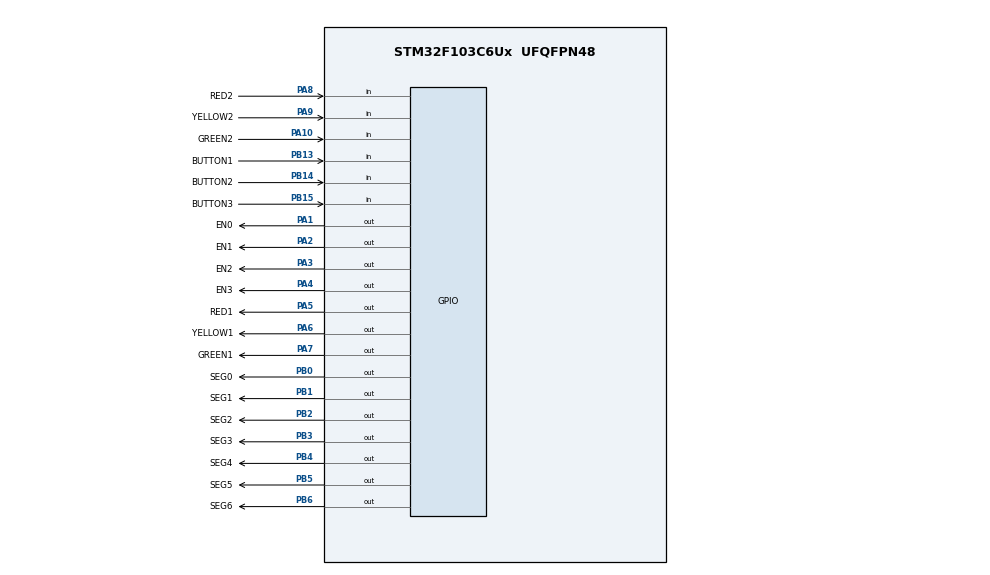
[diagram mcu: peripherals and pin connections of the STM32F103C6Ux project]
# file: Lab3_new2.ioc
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Mcu.Family=STM32F1
Mcu.Name=STM32F103C6Ux
Mcu.Package=UFQFPN48
NVIC.PriorityGroup=NVIC_PRIORITYGROUP_4
NVIC.TIM2_IRQn=true\:0\:0\:false\:false\:true\:true\:true\:true
PA1.GPIO_Label=EN0
PA1.Signal=GPIO_Output
PA10.GPIO_Label=GREEN2
PA10.GPIO_PuPd=GPIO_PULLUP
PA10.Signal=GPIO_Input
PA2.GPIO_Label=EN1
PA2.Signal=GPIO_Output
PA3.GPIO_Label=EN2
PA3.Signal=GPIO_Output
PA4.GPIO_Label=EN3
PA4.Signal=GPIO_Output
PA5.GPIO_Label=RED1
PA5.Signal=GPIO_Output
PA6.GPIO_Label=YELLOW1
PA6.Signal=GPIO_Output
PA7.GPIO_Label=GREEN1
PA7.Signal=GPIO_Output
PA8.GPIO_Label=RED2
PA8.GPIO_PuPd=GPIO_PULLUP
PA8.Signal=GPIO_Input
PA9.GPIO_Label=YELLOW2
PA9.GPIO_PuPd=GPIO_PULLUP
PA9.Signal=GPIO_Input
PB0.GPIO_Label=SEG0
PB0.Signal=GPIO_Output
PB1.GPIO_Label=SEG1
PB1.Signal=GPIO_Output
PB13.GPIO_Label=BUTTON1
PB13.GPIO_PuPd=GPIO_PULLUP
PB13.Signal=GPIO_Input
PB14.GPIO_Label=BUTTON2
PB14.GPIO_PuPd=GPIO_PULLUP
PB14.Signal=GPIO_Input
PB15.GPIO_Label=BUTTON3
PB15.GPIO_PuPd=GPIO_PULLUP
PB15.Signal=GPIO_Input
PB2.GPIO_Label=SEG2
PB2.Signal=GPIO_Output
PB3.GPIO_Label=SEG3
PB3.Signal=GPIO_Output
PB4.GPIO_Label=SEG4
PB4.Signal=GPIO_Output
PB5.GPIO_Label=SEG5
PB5.Signal=GPIO_Output
PB6.GPIO_Label=SEG6
PB6.Signal=GPIO_Output
ProjectManager.HeapSize=0x200
ProjectManager.StackSize=0x400
ProjectManager.TargetToolchain=STM32CubeIDE
RCC.APB1Freq_Value=8000000
RCC.APB2Freq_Value=8000000
TIM2.Period=9
TIM2.Prescaler=7999
VP_SYS_VS_ND.Mode=No_Debug
VP_TIM2_VS_ClockSourceINT.Mode=Internal
board=custom

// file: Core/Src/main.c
/* USER CODE BEGIN Header */
/**
 ******************************************************************************
 * @file           : main.c
 * @brief          : Main program body
 ******************************************************************************
 * @attention
 *
 * Copyright (c) 2024 STMicroelectronics.
 * All rights reserved.
 *
 * This software is licensed under terms that can be found in the LICENSE file
 * in the root directory of this software component.
 * If no LICENSE file comes with this software, it is provided AS-IS.
 *
 ******************************************************************************
 */
/* USER CODE END Header */
#include "main.h"
#include <stdio.h>
#include "SCH_global.h"

/* USER CODE BEGIN Includes */
#include "Button.h"
#include "fsm_automatic.h"
#include "fsm_manual.h"
#include "seven_segment.h"
#include "led.h"
#include "blinky_4led.h"
/* USER CODE END Includes */

TIM_HandleTypeDef htim2;

void SystemClock_Config(void);
static void MX_GPIO_Init(void);
static void MX_TIM2_Init(void);

int main(void) {

	/* MCU Configuration--------------------------------------------------------*/

	/* Reset of all peripherals, Initializes the Flash interface and the Systick. */
	HAL_Init();

	/* Configure the system clock */
	SystemClock_Config();

	/* Initialize all configured peripherals */
	MX_GPIO_Init();
	MX_TIM2_Init();
	/* USER CODE BEGIN 2 */
	HAL_TIM_Base_Start_IT(&htim2);
	/* USER CODE END 2 */

	/* Infinite loop */
	/* USER CODE BEGIN WHILE */
	status = INIT;
	setTimer2(15);
	setTimer3(100);
	SCH_Add_Task(fsm_automatic_run, 0, 10);
	SCH_Add_Task(fsm_manual_run, 5, 5);
	SCH_Add_Task(displayClock, 5, 5);
	while (1) {
//		HAL_GPIO_WritePin(RED1_GPIO_Port, RED1_Pin, HAL_GPIO_ReadPin(BUTTON3_GPIO_Port, BUTTON3_Pin));
		/* USER CODE END WHILE */

		/* USER CODE BEGIN 3 */
		fsm_automatic_run();
		fsm_manual_run();

		realTimeClock();
	}
	/* USER CODE END 3 */
}

void SystemClock_Config(void) {
	RCC_OscInitTypeDef RCC_OscInitStruct = { 0 };
	RCC_ClkInitTypeDef RCC_ClkInitStruct = { 0 };

	/** Initializes the RCC Oscillators according to the specified parameters
	 * in the RCC_OscInitTypeDef structure.
	 */
	RCC_OscInitStruct.OscillatorType = RCC_OSCILLATORTYPE_HSI;
	RCC_OscInitStruct.HSIState = RCC_HSI_ON;
	RCC_OscInitStruct.HSICalibrationValue = RCC_HSICALIBRATION_DEFAULT;
	RCC_OscInitStruct.PLL.PLLState = RCC_PLL_NONE;
	if (HAL_RCC_OscConfig(&RCC_OscInitStruct) != HAL_OK) {
		Error_Handler();
	}

	/** Initializes the CPU, AHB and APB buses clocks
	 */
	RCC_ClkInitStruct.ClockType = RCC_CLOCKTYPE_HCLK | RCC_CLOCKTYPE_SYSCLK
			| RCC_CLOCKTYPE_PCLK1 | RCC_CLOCKTYPE_PCLK2;
	RCC_ClkInitStruct.SYSCLKSource = RCC_SYSCLKSOURCE_HSI;
	RCC_ClkInitStruct.AHBCLKDivider = RCC_SYSCLK_DIV1;
	RCC_ClkInitStruct.APB1CLKDivider = RCC_HCLK_DIV1;
	RCC_ClkInitStruct.APB2CLKDivider = RCC_HCLK_DIV1;

	if (HAL_RCC_ClockConfig(&RCC_ClkInitStruct, FLASH_LATENCY_0) != HAL_OK) {
		Error_Handler();
	}
}

static void MX_TIM2_Init(void) {

	TIM_ClockConfigTypeDef sClockSourceConfig = { 0 };
	TIM_MasterConfigTypeDef sMasterConfig = { 0 };

	htim2.Instance = TIM2;
	htim2.Init.Prescaler = 7999;
	htim2.Init.CounterMode = TIM_COUNTERMODE_UP;
	htim2.Init.Period = 9;
	htim2.Init.ClockDivision = TIM_CLOCKDIVISION_DIV1;
	htim2.Init.AutoReloadPreload = TIM_AUTORELOAD_PRELOAD_DISABLE;
	if (HAL_TIM_Base_Init(&htim2) != HAL_OK) {
		Error_Handler();
	}
	sClockSourceConfig.ClockSource = TIM_CLOCKSOURCE_INTERNAL;
	if (HAL_TIM_ConfigClockSource(&htim2, &sClockSourceConfig) != HAL_OK) {
		Error_Handler();
	}
	sMasterConfig.MasterOutputTrigger = TIM_TRGO_RESET;
	sMasterConfig.MasterSlaveMode = TIM_MASTERSLAVEMODE_DISABLE;
	if (HAL_TIMEx_MasterConfigSynchronization(&htim2, &sMasterConfig)
			!= HAL_OK) {
		Error_Handler();
	}

}

static void MX_GPIO_Init(void) {
	GPIO_InitTypeDef GPIO_InitStruct = { 0 };

	/* GPIO Ports Clock Enable */
	__HAL_RCC_GPIOA_CLK_ENABLE();
	__HAL_RCC_GPIOB_CLK_ENABLE();

	/*Configure GPIO pin Output Level */
	HAL_GPIO_WritePin(GPIOA,
	EN0_Pin | EN1_Pin | EN2_Pin | EN3_Pin | RED1_Pin | YELLOW1_Pin | GREEN1_Pin,
			GPIO_PIN_RESET);

	/*Configure GPIO pin Output Level */
	HAL_GPIO_WritePin(GPIOB,
	SEG0_Pin | SEG1_Pin | SEG2_Pin | SEG3_Pin | SEG4_Pin | SEG5_Pin | SEG6_Pin,
			GPIO_PIN_RESET);

	/*Configure GPIO pins : EN0_Pin EN1_Pin EN2_Pin EN3_Pin
	 RED1_Pin YELLOW1_Pin GREEN1_Pin */
	GPIO_InitStruct.Pin = EN0_Pin | EN1_Pin | EN2_Pin | EN3_Pin | RED1_Pin
			| YELLOW1_Pin | GREEN1_Pin;
	GPIO_InitStruct.Mode = GPIO_MODE_OUTPUT_PP;
	GPIO_InitStruct.Pull = GPIO_NOPULL;
	GPIO_InitStruct.Speed = GPIO_SPEED_FREQ_LOW;
	HAL_GPIO_Init(GPIOA, &GPIO_InitStruct);

	/*Configure GPIO pins : SEG0_Pin SEG1_Pin SEG2_Pin SEG3_Pin
	 SEG4_Pin SEG5_Pin SEG6_Pin */
	GPIO_InitStruct.Pin = SEG0_Pin | SEG1_Pin | SEG2_Pin | SEG3_Pin | SEG4_Pin
			| SEG5_Pin | SEG6_Pin;
	GPIO_InitStruct.Mode = GPIO_MODE_OUTPUT_PP;
	GPIO_InitStruct.Pull = GPIO_NOPULL;
	GPIO_InitStruct.Speed = GPIO_SPEED_FREQ_LOW;
	HAL_GPIO_Init(GPIOB, &GPIO_InitStruct);

	/*Configure GPIO pins : BUTTON1_Pin BUTTON2_Pin BUTTON3_Pin */
	GPIO_InitStruct.Pin = BUTTON1_Pin | BUTTON2_Pin | BUTTON3_Pin;
	GPIO_InitStruct.Mode = GPIO_MODE_INPUT;
	GPIO_InitStruct.Pull = GPIO_PULLUP;
	HAL_GPIO_Init(GPIOB, &GPIO_InitStruct);

	/*Configure GPIO pins : RED2_Pin YELLOW2_Pin GREEN2_Pin */
	GPIO_InitStruct.Pin = RED2_Pin | YELLOW2_Pin | GREEN2_Pin;
	GPIO_InitStruct.Mode = GPIO_MODE_INPUT;
	GPIO_InitStruct.Pull = GPIO_PULLUP;
	HAL_GPIO_Init(GPIOA, &GPIO_InitStruct);

}

/* USER CODE BEGIN 4 */
void HAL_TIM_PeriodElapsedCallback(TIM_HandleTypeDef *htim) {
	timerRun();
	getKeyInput1();
	getKeyInput2();
	getKeyInput3();
}
/* USER CODE END 4 */

void Error_Handler(void) {
	__disable_irq();
	while (1) {
	}
}
